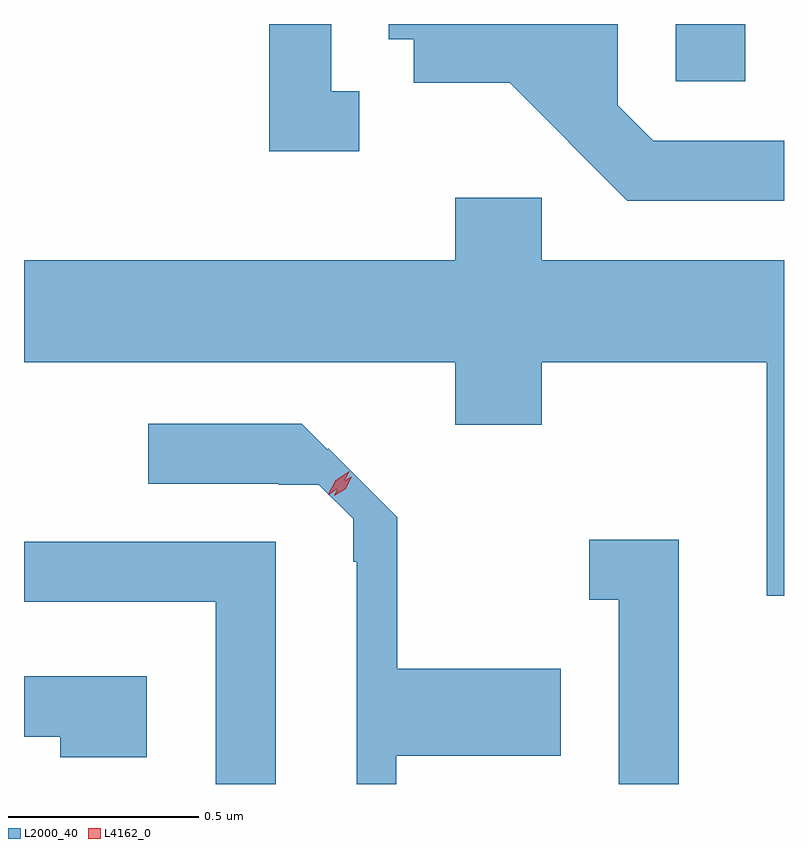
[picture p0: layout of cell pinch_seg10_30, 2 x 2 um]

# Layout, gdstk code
import gdstk
lib = gdstk.Library(unit=1e-6, precision=1e-09)
def R(c, l, rs):  # rectangles x0, y0, x1, y1
    for r in rs: c.add(gdstk.rectangle(r[:2], r[2:], *l))
def P(c, l, *ps):  # polygons
    for p in ps: c.add(gdstk.Polygon(p, *l))
L2000_40 = (2000, 40)
L4162_0 = (4162, 0)

pinch_seg10_30 = lib.new_cell('pinch_seg10_30')
R(pinch_seg10_30, L2000_40, [(598.971,2176.816,599.154,2176.966)])
P(pinch_seg10_30, L2000_40, [(599.256,2176.659),(598.912,2176.659),(598.819,2176.752),(598.819,2176.966),(598.216,2176.966),(598.216,2176.926),(598.281,2176.926),(598.281,2176.811),(598.534,2176.811),(598.844,2176.501),(599.256,2176.501)],
  [(598.138,2176.789),(598.064,2176.789),(598.064,2176.966),(597.901,2176.966),(597.901,2176.631),(598.138,2176.631)],
  [(599.256,2176.344),(598.619,2176.344),(598.619,2176.509),(598.391,2176.509),(598.391,2176.344),(597.256,2176.344),(597.256,2176.076),(598.391,2176.076),(598.391,2175.911),(598.619,2175.911),(598.619,2176.076),(599.211,2176.076),(599.211,2175.461),(599.256,2175.461)],
  [(598.236,2175.041),(598.669,2175.041),(598.669,2175.269),(598.238,2175.269),(598.238,2175.668),(598.057,2175.849),(598.055,2175.846),(597.987,2175.914),(597.583,2175.914),(597.583,2175.756),(597.926,2175.756),(597.926,2175.754),(598.032,2175.754),(598.123,2175.664),(598.123,2175.551),(598.132,2175.551),(598.132,2174.966),(598.236,2174.966)],
  [(598.979,2175.609),(598.743,2175.609),(598.743,2175.451),(598.821,2175.451),(598.821,2174.966),(598.979,2174.966)],
  [(597.919,2175.604),(597.256,2175.604),(597.256,2175.446),(597.761,2175.446),(597.761,2174.966),(597.919,2174.966)],
  [(597.579,2175.249),(597.256,2175.249),(597.256,2175.091),(597.351,2175.091),(597.351,2175.036),(597.579,2175.036)])
P(pinch_seg10_30, L4162_0, [(598.072,2175.724),(598.072,2175.724),(598.087,2175.756),(598.117,2175.775),(598.118,2175.775),(598.118,2175.774),(598.102,2175.742),(598.072,2175.724)],
  [(598.057,2175.727),(598.057,2175.728),(598.077,2175.765),(598.112,2175.789),(598.112,2175.789),(598.112,2175.788),(598.092,2175.751),(598.058,2175.727)])

lib.write_gds('pinch_seg10_30.gds')
